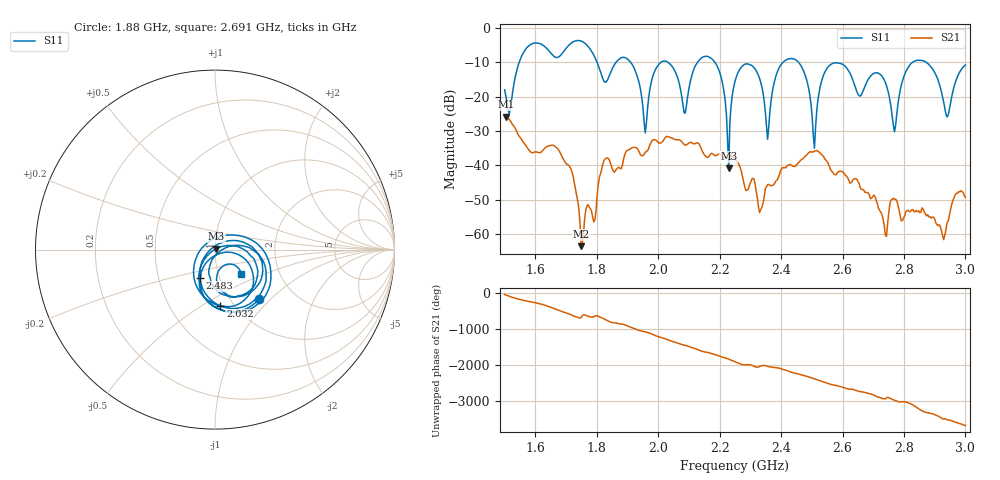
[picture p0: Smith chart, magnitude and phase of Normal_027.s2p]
# HZ S RI R 50
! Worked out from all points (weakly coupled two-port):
!   404 points, 1.5 GHz to 3 GHz, reference 50 ohm
!   highest |S21| = -25.88 dB at 1.504 GHz (marker M1); lowest = -63.6 dB at 1.749 GHz (marker M2)
!   lowest |S11| = -40.9 dB at 2.23 GHz (marker M3), VSWR 1.02, Z = 50.7 + j0.582 ohm
!   |S11| at or under -10 dB: 2.185 GHz to 2.406 GHz (221.7 MHz wide, 9.66 % of centre); 2.457 GHz to 2.828 GHz (371.5 MHz wide, 14.1 % of centre); 2.873 GHz to end of sweep (the widest 3 of 7)
!   S12 and S22 are empty: the file has one direction only
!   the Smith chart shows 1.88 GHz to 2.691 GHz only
!   S11 on the Smith chart (normalised r, x): 1.88 GHz: 1.35, -0.85; 2.032 GHz: 0.87, -0.60; 2.483 GHz: 0.81, -0.26; 2.691 GHz: 1.27, -0.37
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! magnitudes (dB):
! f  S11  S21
! 1.5 GHz  -18.0  -25.9
! 1.504 GHz  -19.7  -25.9
! 1.675 GHz  -8.5  -35.4
! 1.749 GHz  -3.8  -63.6
! 1.753 GHz  -4.0  -63.0
! 1.88 GHz  -8.7  -41.0
! 1.958 GHz  -30.5  -36.3
! 2.002 GHz  -10.5  -33.5
! 2.032 GHz  -10.0  -31.7
! 2.088 GHz  -24.8  -34.1
! 2.181 GHz  -9.6  -37.0
! 2.23 GHz  -40.9  -37.3
! 2.252 GHz  -14.9  -38.4
! 2.334 GHz  -15.8  -52.9
! 2.356 GHz  -32.4  -45.7
! 2.404 GHz  -10.2  -40.7
! 2.483 GHz  -14.9  -37.1
! 2.501 GHz  -25.8  -36.1
! 2.561 GHz  -10.7  -41.1
! 2.691 GHz  -14.1  -49.7
! 2.751 GHz  -19.4  -53.7
! 3 GHz  -10.8  -49.3
